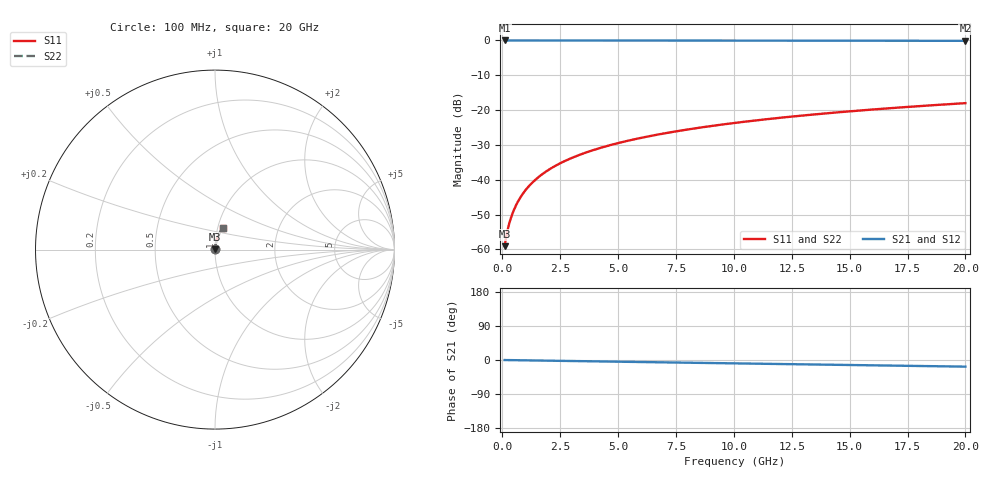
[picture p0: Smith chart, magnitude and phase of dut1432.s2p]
! Touchstone file exported from HFSS 2026.1.0
!  File:  C:/ffzhzh/LocalFiles/Ansys_Project_Files/temp_train_BSMRDL_1432_1783180380_55132.aedt
!  Generated:  11:54:13 PM Jul  4, 2026
!  Design:  BSMRDL
!  Project:  temp_train_BSMRDL_1432_1783180380_55132
! Variables:
!  h_bsmrdl = 5.19um
!  h_ox = 20um
!  h_rdl = 5um
!  h_sub = 80um
!  h_tmrdl = 5um
!  h_tsv = 80um
!  h_via = 3um
!  l_bsmrdl = 253.12um
!  l_sub = 653.12um
!  l_tmrdl = 200um
!  m_sub = 200um
!  pitch = 48.43um
!  r_tsv = 6um
!  s_tmrdl = 10um
!  w_bsmrdl = 29.7um
!  w_sub = 500um
!  w_tmrdl = 12um
!  x_tsv_center1 = 206um
!  x_tsv_center2 = 488.82um
!  x_tsv_center3 = 700.82um
!  x_tsv_center4 = 983.64um
!  x_tsv_center5 = 1195.64um
!  x_tsv_center6 = 1478.46um
# GHz S MA R 50.000000
! Terminal data exported
! Port[1] = BSM_RDL1_1_T1
! Port[2] = BSM_RDL1_1_T2
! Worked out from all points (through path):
!   200 points, 100 MHz to 20 GHz, reference 50 ohm
!   highest |S21| = -0.01 dB at 100 MHz (marker M1); lowest = -0.1 dB at 20 GHz (marker M2)
!   group delay of S21, straight-line fit = 2.43 ps
!   lowest |S11| = -59.0 dB at 100 MHz (marker M3), VSWR 1.00, Z = 50.1 + j0.08 ohm
!   |S11| at or under -10 dB: start of sweep to end of sweep
!   |S22| runs from -59.0 to -18.0 dB; largest |S21 - S12| = 4.9e-15
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0.1  0.001116 45.7  0.9992 -0.1  0.9992 -0.1  0.001116 45.7
! Gamma 0 0 0 0
! Port Impedance 50 0 50 0
0.2  0.001735 60.3  0.9991 -0.2  0.9991 -0.2  0.001735 60.3
0.3  0.00237 67.4  0.9991 -0.3  0.9991 -0.3  0.00237 67.4
0.4  0.003021 71.8  0.999 -0.4  0.999 -0.4  0.003021 71.8
0.5  0.003684 74.6  0.999 -0.5  0.999 -0.5  0.003684 74.6
0.6  0.004356 76.6  0.999 -0.6  0.999 -0.6  0.004356 76.6
0.8  0.005715 79.2  0.9989 -0.7  0.9989 -0.7  0.005715 79.2
1.1  0.007767 81.1  0.9989 -1.0  0.9989 -1.0  0.007767 81.1
1.3  0.009136 81.8  0.9988 -1.2  0.9988 -1.2  0.009136 81.8
1.5  0.0105 82.2  0.9987 -1.4  0.9987 -1.4  0.0105 82.2
1.8  0.01254 82.6  0.9986 -1.6  0.9986 -1.6  0.01254 82.6
2.1  0.01458 82.8  0.9985 -1.9  0.9985 -1.9  0.01458 82.8
2.7  0.0186 82.7  0.9983 -2.4  0.9983 -2.4  0.0186 82.7
3.5  0.02388 82.4  0.9979 -3.2  0.9979 -3.2  0.02388 82.4
4.2  0.02845 82.0  0.9975 -3.8  0.9975 -3.8  0.02845 82.0
5  0.03362 81.6  0.9971 -4.5  0.9971 -4.5  0.03362 81.6
6.8  0.04511 80.4  0.9962 -6.1  0.9962 -6.1  0.04511 80.4
8.3  0.05459 79.3  0.9954 -7.4  0.9954 -7.4  0.05459 79.3
10.1  0.06587 78.0  0.9944 -9.0  0.9944 -9.0  0.06587 78.0
13.4  0.08627 75.5  0.9923 -11.8  0.9923 -11.8  0.08627 75.5
16.7  0.1063 72.9  0.9899 -14.7  0.9899 -14.7  0.1063 72.9
20  0.1259 70.2  0.9871 -17.5  0.9871 -17.5  0.1259 70.2
